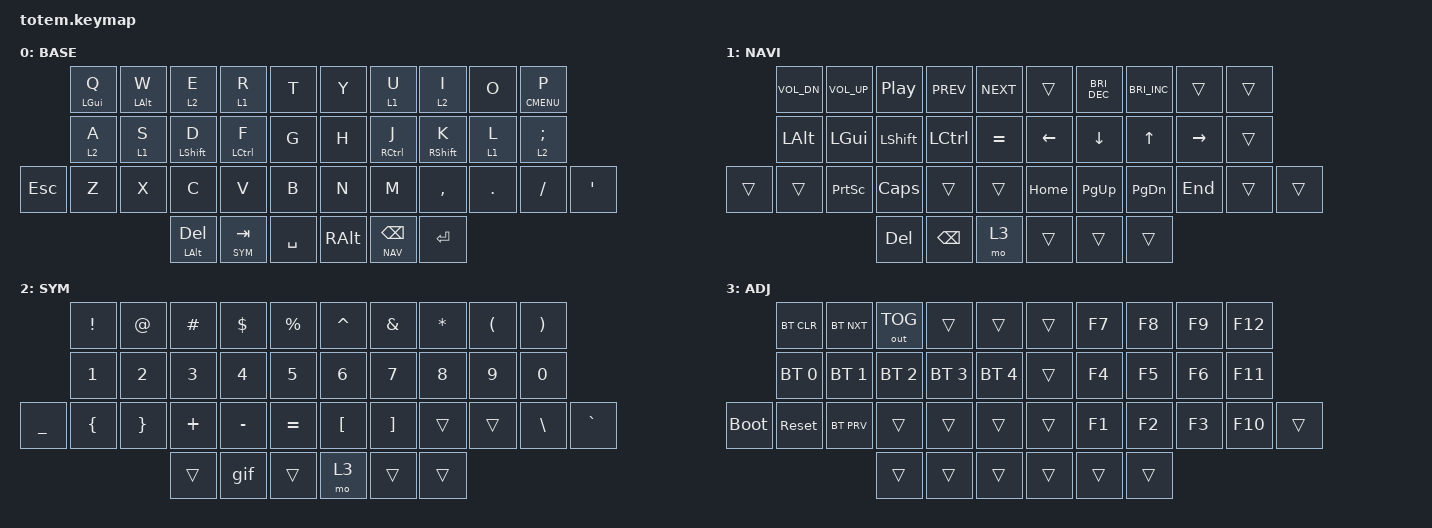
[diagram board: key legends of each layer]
//
//                                                        ▀▀▀▀▀     ▀▀▀▀▀          ▀▀█▀▀
//                                                        ▄▀▀▀▄  ▄  ▄▀▀▀▄  ▄  ▄▀▀▀▄  █  ▄▀▀▀▄
//                                                        █   █  █  █   █  █  █   █  █  █   █
//                                                         ▀▀▀   █   ▀▀▀   █   ▀▀▀   ▀   ▀▀▀
//                                                               █      ▄▄▄█▄▄▄    █   █  
//                                                               ▀      █  █  █     █▄█
//                                                             ▀▀▀▀▀    █  █  █      ▀
//                                                                      ▀  ▀  ▀
//
// ▄▄▄▄▄▄▄▄▄▄▄▄▄▄▄▄▄▄▄▄▄▄▄▄▄▄▄▄▄▄▄▄▄▄▄▄▄▄▄▄▄▄▄▄▄▄▄▄▄▄▄▄▄▄▄▄▄▄▄▄▄▄▄▄▄▄▄▄▄▄▄▄▄▄▄▄▄▄▄▄▄▄▄▄▄▄▄▄▄▄▄▄▄▄▄▄▄▄▄▄▄▄▄▄▄▄▄▄▄▄▄▄▄▄▄▄▄▄▄▄▄▄▄▄▄▄▄▄▄▄▄▄▄▄▄▄▄▄▄▄▄▄▄▄▄▄▄▄▄

#include <behaviors.dtsi>
#include <dt-bindings/zmk/bt.h>
#include <dt-bindings/zmk/keys.h>
#include <dt-bindings/zmk/outputs.h>

#define BASE 0
#define NAV  1
#define SYM  2
#define ADJ  3
#define TVP1 4
#define TVP2 5

&mt {
    quick-tap-ms = <100>;
    global-quick-tap;
    flavor = "tap-preferred";
    tapping-term-ms = <170>;
};

/ {
    behaviors {
        lt_thumb: lt_thumb {
            compatible = "zmk,behavior-hold-tap";
            #binding-cells = <2>;
            flavor = "hold-preferred";
            tapping-term-ms = <200>;
            bindings = <&mo>, <&kp>;
        };
    };

    combos {
        compatible = "zmk,combos";

        combo_esc {
            timeout-ms = <50>;
            key-positions = <0 1>;
            bindings = <&kp ESC>;
        };

        combo_tvp {
            timeout-ms = <100>;
            key-positions = <11 12 13>;
            bindings = <&tog 0>;
        };

        enter {
            bindings = <&kp ENTER>;
            key-positions = <27 28>;
        };
    };

    macros {
        gif: gif {
            label = "giphy";
            compatible = "zmk,behavior-macro";
            #binding-cells = <0>;
            bindings =
                <&macro_press>,
                <&kp LSHFT>,
                <&macro_tap>,
                <&kp N2>,
                <&macro_release>,
                <&kp LSHFT>,
                <&macro_tap>,
                <&kp G &kp I &kp F>;
        };
    };

    keymap {
        compatible = "zmk,keymap";

        // ▄▄▄▄▄▄▄▄▄▄▄▄▄▄▄▄▄▄▄▄▄▄▄▄▄▄▄▄▄▄▄▄▄▄▄▄▄▄▄▄▄▄▄▄▄▄▄▄▄▄▄▄▄▄▄▄▄▄▄▄▄▄▄▄▄▄▄▄▄▄▄▄▄▄▄▄▄▄▄▄▄▄▄▄▄▄▄▄▄▄▄▄▄▄▄▄▄▄▄▄▄▄▄▄▄▄▄▄▄▄▄▄▄▄▄▄▄▄▄▄▄▄▄▄▄▄▄▄▄▄▄▄▄▄▄▄▄▄▄▄▄▄▄▄▄▄▄▄▄

        base_layer {
            // ┏━━━━━━━━━━━━━━━━━━━━━━━━━━━━━━━━━━━━━━━┓

            label = "BASE";

            // ┗━━━━━━━━━━━━━━━━━━━━━━━━━━━━━━━━━━━━━━━┛
            //             ┏━━━━━━━━━━━┳━━━━━━━━━━━┳━━━━━━━━━━━┳━━━━━━━━━━━┳━━━━━━━━━━━┓   ┏━━━━━━━━━━━┳━━━━━━━━━━━┳━━━━━━━━━━━┳━━━━━━━━━━━┳━━━━━━━━━━━┓
            //             ┃     Q     ┃     W     ┃     E     ┃     R     ┃     T     ┃   ┃     Y     ┃     U     ┃     I     ┃     O     ┃     P     ┃
            //             ┣━━━━━━━━━━━╋━━━━━━━━━━━╋━━━━━━━━━━━╋━━━━━━━━━━━╋━━━━━━━━━━━┫   ┣━━━━━━━━━━━╋━━━━━━━━━━━╋━━━━━━━━━━━╋━━━━━━━━━━━╋━━━━━━━━━━━┫
            //             ┃     A     ┃     R     ┃     S     ┃     T     ┃     D     ┃   ┃     H     ┃     N     ┃     E     ┃     I     ┃     O     ┃
            // ┏━━━━━━━━━━━╋━━━━━━━━━━━╋━━━━━━━━━━━╋━━━━━━━━━━━╋━━━━━━━━━━━╋━━━━━━━━━━━┫   ┣━━━━━━━━━━━╋━━━━━━━━━━━╋━━━━━━━━━━━╋━━━━━━━━━━━╋━━━━━━━━━━━╋━━━━━━━━━━━┓
            // ┃     Q     ┃     Z     ┃     X     ┃     C     ┃     V     ┃     B     ┃   ┃     K     ┃     M     ┃     ,     ┃     .     ┃     /     ┃     \     ┃
            // ┗━━━━━━━━━━━┻━━━━━━━━━━━┻━━━━━━━━━━━╋━━━━━━━━━━━╋━━━━━━━━━━━╋━━━━━━━━━━━┫   ┣━━━━━━━━━━━╋━━━━━━━━━━━╋━━━━━━━━━━━╋━━━━━━━━━━━┻━━━━━━━━━━━┻━━━━━━━━━━━┛
            //                                     ┃    DEL    ┃    TAB    ┃    SPC    ┃   ┃   ENTER   ┃           ┃   BSPC    ┃
            //                                     ┗━━━━━━━━━━━┻━━━━━━━━━━━┻━━━━━━━━━━━┛   ┗━━━━━━━━━━━┻━━━━━━━━━━━┻━━━━━━━━━━━┛

            bindings = <
            &mt LEFT_GUI Q  &mt LALT W  &lt 2 E              &lt 1 R             &kp T        &kp Y          &lt 1 U              &lt 2 I      &kp O    &mt K_CMENU P
            &lt 2 A         &lt 1 S     &mt LSHIFT D         &mt LEFT_CONTROL F  &kp G        &kp H          &mt RIGHT_CONTROL J  &mt RSHFT K  &lt 1 L  &lt 2 SEMICOLON
&kp ESCAPE  &kp Z           &kp X       &kp C                &kp V               &kp B        &kp N          &kp M                &kp COMMA    &kp DOT  &kp FSLH         &kp SQT
                                        &mt LEFT_ALT DELETE  &lt_thumb SYM TAB   &kp SPACE    &kp RIGHT_ALT  &lt_thumb NAV BSPC   &kp ENTER
            >;
        };

        // ▄▄▄▄▄▄▄▄▄▄▄▄▄▄▄▄▄▄▄▄▄▄▄▄▄▄▄▄▄▄▄▄▄▄▄▄▄▄▄▄▄▄▄▄▄▄▄▄▄▄▄▄▄▄▄▄▄▄▄▄▄▄▄▄▄▄▄▄▄▄▄▄▄▄▄▄▄▄▄▄▄▄▄▄▄▄▄▄▄▄▄▄▄▄▄▄▄▄▄▄▄▄▄▄▄▄▄▄▄▄▄▄▄▄▄▄▄▄▄▄▄▄▄▄▄▄▄▄▄▄▄▄▄▄▄▄▄▄▄▄▄▄▄▄▄▄▄▄▄

        nav_layer {
            // ┏━━━━━━━━━━━━━━━━━━━━━━━━━━━━━━━━━━━━━━━┓

            label = "NAVI";

            // ┗━━━━━━━━━━━━━━━━━━━━━━━━━━━━━━━━━━━━━━━┛
            //             ┏━━━━━━━━━━━┳━━━━━━━━━━━┳━━━━━━━━━━━┳━━━━━━━━━━━┳━━━━━━━━━━━┓   ┏━━━━━━━━━━━┳━━━━━━━━━━━┳━━━━━━━━━━━┳━━━━━━━━━━━┳━━━━━━━━━━━┓
            //             ┃           ┃           ┃     UP    ┃           ┃     {     ┃   ┃     }     ┃     7     ┃     8     ┃     9     ┃     +     ┃
            //             ┣━━━━━━━━━━━╋━━━━━━━━━━━╋━━━━━━━━━━━╋━━━━━━━━━━━╋━━━━━━━━━━━┫   ┣━━━━━━━━━━━╋━━━━━━━━━━━╋━━━━━━━━━━━╋━━━━━━━━━━━╋━━━━━━━━━━━┫
            //             ┃   SHIFT   ┃   LEFT    ┃    DOWN   ┃   RIGHT   ┃     [     ┃   ┃     ]     ┃     4     ┃     5     ┃     6     ┃     -     ┃
            // ┏━━━━━━━━━━━╋━━━━━━━━━━━╋━━━━━━━━━━━╋━━━━━━━━━━━╋━━━━━━━━━━━╋━━━━━━━━━━━┫   ┣━━━━━━━━━━━╋━━━━━━━━━━━╋━━━━━━━━━━━╋━━━━━━━━━━━╋━━━━━━━━━━━╋━━━━━━━━━━━┓
            // ┃           ┃           ┃   P UP    ┃  C LOCK   ┃  P DOWN   ┃     (     ┃   ┃     )     ┃     1     ┃     2     ┃     3     ┃     *     ┃           ┃
            // ┗━━━━━━━━━━━┻━━━━━━━━━━━┻━━━━━━━━━━━╋━━━━━━━━━━━╋━━━━━━━━━━━╋━━━━━━━━━━━┫   ┣━━━━━━━━━━━╋━━━━━━━━━━━╋━━━━━━━━━━━╋━━━━━━━━━━━┻━━━━━━━━━━━┻━━━━━━━━━━━┛
            //                                     ┃           ┃    TAB    ┃    SPC    ┃   ┃    DEL    ┃     0     ┃           ┃
            //                                     ┗━━━━━━━━━━━┻━━━━━━━━━━━┻━━━━━━━━━━━┛   ┗━━━━━━━━━━━┻━━━━━━━━━━━┻━━━━━━━━━━━┛

            bindings = <
        &kp C_VOL_DN   &kp C_VOL_UP     &kp C_PP    &kp C_PREV        &kp C_NEXT       &trans    &kp C_BRIGHTNESS_DEC  &kp C_BRIGHTNESS_INC  &trans     &trans
        &kp LALT  &kp LEFT_GUI     &kp LSHFT   &kp LEFT_CONTROL  &kp EQUAL    &kp LEFT  &kp DOWN              &kp UP_ARROW          &kp RIGHT  &trans
&trans  &trans    &kp PRINTSCREEN  &kp CAPS    &trans            &trans       &kp HOME  &kp PG_UP             &kp PG_DN             &kp END    &trans  &trans
                                   &kp DELETE  &kp BACKSPACE     &mo 3        &trans    &trans                &trans
            >;
        };

        // ▄▄▄▄▄▄▄▄▄▄▄▄▄▄▄▄▄▄▄▄▄▄▄▄▄▄▄▄▄▄▄▄▄▄▄▄▄▄▄▄▄▄▄▄▄▄▄▄▄▄▄▄▄▄▄▄▄▄▄▄▄▄▄▄▄▄▄▄▄▄▄▄▄▄▄▄▄▄▄▄▄▄▄▄▄▄▄▄▄▄▄▄▄▄▄▄▄▄▄▄▄▄▄▄▄▄▄▄▄▄▄▄▄▄▄▄▄▄▄▄▄▄▄▄▄▄▄▄▄▄▄▄▄▄▄▄▄▄▄▄▄▄▄▄▄▄▄▄▄

        sim_layer {
            // ┏━━━━━━━━━━━━━━━━━━━━━━━━━━━━━━━━━━━━━━━┓

            label = "SYM";

            // ┗━━━━━━━━━━━━━━━━━━━━━━━━━━━━━━━━━━━━━━━┛
            //             ┏━━━━━━━━━━━┳━━━━━━━━━━━┳━━━━━━━━━━━┳━━━━━━━━━━━┳━━━━━━━━━━━┓   ┏━━━━━━━━━━━┳━━━━━━━━━━━┳━━━━━━━━━━━┳━━━━━━━━━━━┳━━━━━━━━━━━┓
            //             ┃     !     ┃     @     ┃     #     ┃     $     ┃     %     ┃   ┃     ˆ     ┃     &     ┃     Ü     ┃     '     ┃     "     ┃
            //             ┣━━━━━━━━━━━╋━━━━━━━━━━━╋━━━━━━━━━━━╋━━━━━━━━━━━╋━━━━━━━━━━━┫   ┣━━━━━━━━━━━╋━━━━━━━━━━━╋━━━━━━━━━━━╋━━━━━━━━━━━╋━━━━━━━━━━━┫
            //             ┃     Ä     ┃           ┃    SZ     ┃           ┃           ┃   ┃   MUTE    ┃   YEN     ┃   EURO    ┃  POUND    ┃     Ö     ┃
            // ┏━━━━━━━━━━━╋━━━━━━━━━━━╋━━━━━━━━━━━╋━━━━━━━━━━━╋━━━━━━━━━━━╋━━━━━━━━━━━┫   ┣━━━━━━━━━━━╋━━━━━━━━━━━╋━━━━━━━━━━━╋━━━━━━━━━━━╋━━━━━━━━━━━╋━━━━━━━━━━━┓
            // ┃           ┃  EMAIL1   ┃  EMAIL2   ┃           ┃           ┃           ┃   ┃   VOL-    ┃   VOL+    ┃   LAST    ┃   NEXT    ┃     \     ┃           ┃
            // ┗━━━━━━━━━━━┻━━━━━━━━━━━┻━━━━━━━━━━━╋━━━━━━━━━━━╋━━━━━━━━━━━╋━━━━━━━━━━━┫   ┣━━━━━━━━━━━╋━━━━━━━━━━━╋━━━━━━━━━━━╋━━━━━━━━━━━┻━━━━━━━━━━━┻━━━━━━━━━━━┛
            //                                     ┃           ┃    GIF    ┃    ADJ    ┃   ┃           ┃           ┃           ┃
            //                                     ┗━━━━━━━━━━━┻━━━━━━━━━━━┻━━━━━━━━━━━┛   ┗━━━━━━━━━━━┻━━━━━━━━━━━┻━━━━━━━━━━━┛

            bindings = <
                &kp EXCL        &kp AT           &kp HASH      &kp DLLR      &kp PRCNT       &kp CARET         &kp AMPS           &kp ASTRK  &kp LEFT_PARENTHESIS  &kp RIGHT_PARENTHESIS
                &kp NUMBER_1    &kp NUMBER_2     &kp NUMBER_3  &kp NUMBER_4  &kp NUMBER_5    &kp NUMBER_6      &kp N7             &kp N8     &kp N9                &kp N0
&kp UNDERSCORE  &kp LEFT_BRACE  &kp RIGHT_BRACE  &kp PLUS      &kp MINUS     &kp EQUAL       &kp LEFT_BRACKET  &kp RIGHT_BRACKET  &trans     &trans                &kp BSLH               &kp GRAVE
                                                 &trans        &gif          &trans          &mo 3             &trans             &trans
            >;
        };

        // ▄▄▄▄▄▄▄▄▄▄▄▄▄▄▄▄▄▄▄▄▄▄▄▄▄▄▄▄▄▄▄▄▄▄▄▄▄▄▄▄▄▄▄▄▄▄▄▄▄▄▄▄▄▄▄▄▄▄▄▄▄▄▄▄▄▄▄▄▄▄▄▄▄▄▄▄▄▄▄▄▄▄▄▄▄▄▄▄▄▄▄▄▄▄▄▄▄▄▄▄▄▄▄▄▄▄▄▄▄▄▄▄▄▄▄▄▄▄▄▄▄▄▄▄▄▄▄▄▄▄▄▄▄▄▄▄▄▄▄▄▄▄▄▄▄▄▄▄▄

        adjust_layer {
            // ┏━━━━━━━━━━━━━━━━━━━━━━━━━━━━━━━━━━━━━━━┓

            label = "ADJ";

            // ┗━━━━━━━━━━━━━━━━━━━━━━━━━━━━━━━━━━━━━━━┛
            //             ┏━━━━━━━━━━━┳━━━━━━━━━━━┳━━━━━━━━━━━┳━━━━━━━━━━━┳━━━━━━━━━━━┓   ┏━━━━━━━━━━━┳━━━━━━━━━━━┳━━━━━━━━━━━┳━━━━━━━━━━━┳━━━━━━━━━━━┓
            //             ┃   RESET   ┃ BT CLEAR  ┃  OUT TOG  ┃           ┃           ┃   ┃           ┃    F7     ┃    F8     ┃    F9     ┃    F12    ┃
            //             ┣━━━━━━━━━━━╋━━━━━━━━━━━╋━━━━━━━━━━━╋━━━━━━━━━━━╋━━━━━━━━━━━┫   ┣━━━━━━━━━━━╋━━━━━━━━━━━╋━━━━━━━━━━━╋━━━━━━━━━━━╋━━━━━━━━━━━┫
            //             ┃ BOOTLOAD  ┃ BT NEXT   ┃           ┃           ┃           ┃   ┃           ┃    F4     ┃    F5     ┃    F6     ┃    F11    ┃
            // ┏━━━━━━━━━━━╋━━━━━━━━━━━╋━━━━━━━━━━━╋━━━━━━━━━━━╋━━━━━━━━━━━╋━━━━━━━━━━━┫   ┣━━━━━━━━━━━╋━━━━━━━━━━━╋━━━━━━━━━━━╋━━━━━━━━━━━╋━━━━━━━━━━━╋━━━━━━━━━━━┓
            // ┃           ┃           ┃ BT PREV   ┃           ┃           ┃           ┃   ┃           ┃    F1     ┃    F2     ┃    F3     ┃    F10    ┃           ┃
            // ┗━━━━━━━━━━━┻━━━━━━━━━━━┻━━━━━━━━━━━╋━━━━━━━━━━━╋━━━━━━━━━━━╋━━━━━━━━━━━┫   ┣━━━━━━━━━━━╋━━━━━━━━━━━╋━━━━━━━━━━━╋━━━━━━━━━━━┻━━━━━━━━━━━┻━━━━━━━━━━━┛
            //                                     ┃           ┃           ┃           ┃   ┃           ┃           ┃           ┃
            //                                     ┗━━━━━━━━━━━┻━━━━━━━━━━━┻━━━━━━━━━━━┛   ┗━━━━━━━━━━━┻━━━━━━━━━━━┻━━━━━━━━━━━┛

            bindings = <
             &bt BT_CLR    &bt BT_NXT    &out OUT_TOG  &trans        &trans          &trans  &kp F7  &kp F8  &kp F9  &kp F12
             &bt BT_SEL 0  &bt BT_SEL 1  &bt BT_SEL 2  &bt BT_SEL 3  &bt BT_SEL 4    &trans  &kp F4  &kp F5  &kp F6  &kp F11
&bootloader  &sys_reset    &bt BT_PRV    &trans        &trans        &trans          &trans  &kp F1  &kp F2  &kp F3  &kp F10  &trans
                                         &trans        &trans        &trans          &trans  &trans  &trans
            >;
        };

        // ▄▄▄▄▄▄▄▄▄▄▄▄▄▄▄▄▄▄▄▄▄▄▄▄▄▄▄▄▄▄▄▄▄▄▄▄▄▄▄▄▄▄▄▄▄▄▄▄▄▄▄▄▄▄▄▄▄▄▄▄▄▄▄▄▄▄▄▄▄▄▄▄▄▄▄▄▄▄▄▄▄▄▄▄▄▄▄▄▄▄▄▄▄▄▄▄▄▄▄▄▄▄▄▄▄▄▄▄▄▄▄▄▄▄▄▄▄▄▄▄▄▄▄▄▄▄▄▄▄▄▄▄▄▄▄▄▄▄▄▄▄▄▄▄▄▄▄▄▄
        // ▄▄▄▄▄▄▄▄▄▄▄▄▄▄▄▄▄▄▄▄▄▄▄▄▄▄▄▄▄▄▄▄▄▄▄▄▄▄▄▄▄▄▄▄▄▄▄▄▄▄▄▄▄▄▄▄▄▄▄▄▄▄▄▄▄▄▄▄▄▄▄▄▄▄▄▄▄▄▄▄▄▄▄▄▄▄▄▄▄▄▄▄▄▄▄▄▄▄▄▄▄▄▄▄▄▄▄▄▄▄▄▄▄▄▄▄▄▄▄▄▄▄▄▄▄▄▄▄▄▄▄▄▄▄▄▄▄▄▄▄▄▄▄▄▄▄▄▄▄
    };
};
